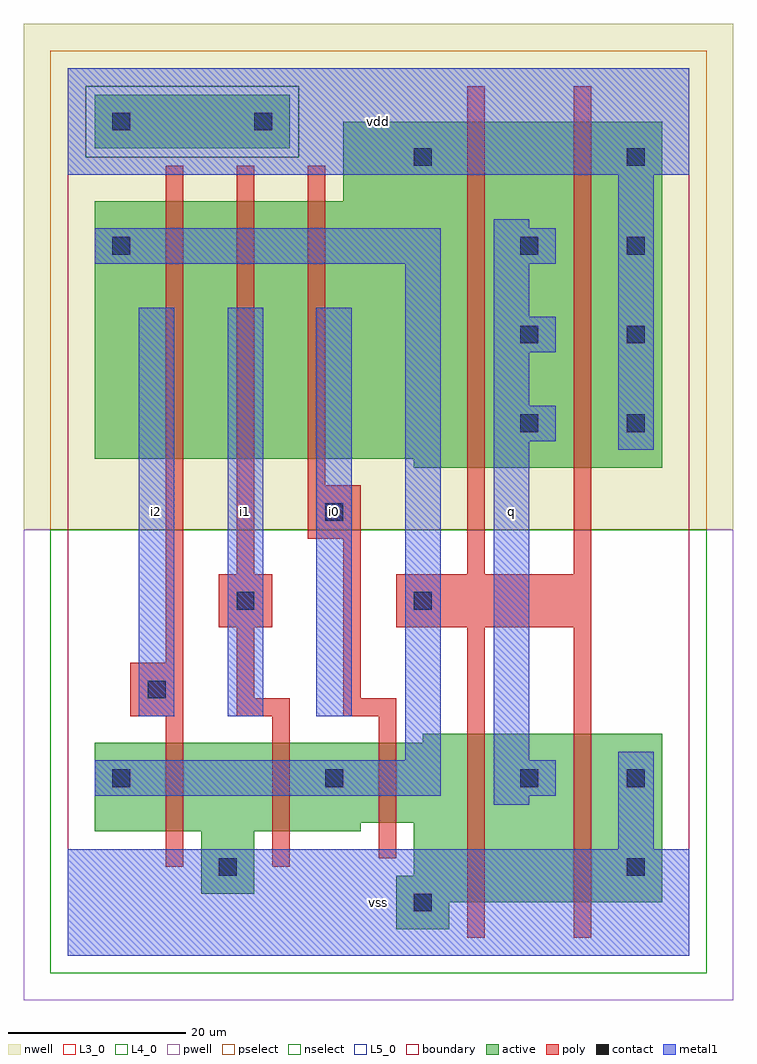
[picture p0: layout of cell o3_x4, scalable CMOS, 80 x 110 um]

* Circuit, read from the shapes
.subckt o3_x4 i0 i1 i2 q vdd vss
M1 vss i2 n1 VSUBS nfet w=10u l=2u
M2 n1 i1 vss VSUBS nfet w=10u l=2u
M3 vss i0 n1 VSUBS nfet w=9u l=2u
M4 q n1 vss VSUBS nfet w=19u l=2u m=2
M5 n2 i2 n1 vdd pfet w=29u l=2u
M6 n3 i1 n2 vdd pfet w=29u l=2u
M7 vdd i0 n3 vdd pfet w=29u l=2u
M8 q n1 vdd vdd pfet w=39u l=2u m=2
.ends

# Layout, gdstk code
import gdstk
lib = gdstk.Library(unit=1e-6, precision=1e-09)
def R(c, l, rs):  # rectangles x0, y0, x1, y1
    for r in rs: c.add(gdstk.rectangle(r[:2], r[2:], *l))
def A(c, l, x, y, w, h, nx, ny, dx, dy):  # array of equal rectangles
    R(c, l, [(x+i*dx, y+j*dy, x+i*dx+w, y+j*dy+h) for i in range(nx) for j in range(ny)])
L3_0 = (3, 0)
L4_0 = (4, 0)
L5_0 = (5, 0)
contact = (25, 0)
pwell = (41, 0)
nwell = (42, 0)
active = (43, 0)
pselect = (44, 0)
nselect = (45, 0)
poly = (46, 0)
metal1 = (49, 0)
boundary = (63, 0)

o3_x4 = lib.new_cell('o3_x4')
R(o3_x4, L3_0, [(37,3,43,6), (37,6,67,9), (15,7,21,14), (39,9,67,15), (3,14,33,15), (3,15,67,24), (40,24,67,25)])
R(o3_x4, L4_0, [(39,55,67,56), (3,56,67,85), (31,85,67,94)])
R(o3_x4, L5_0, [(3,91,25,97)])
A(o3_x4, contact, 51, 59, 2, 2, 1, 3, 0, 10)
A(o3_x4, contact, 63, 59, 2, 2, 1, 4, 0, 10)
R(o3_x4, contact, [(39,5,41,7), (17,9,19,11), (63,9,65,11), (5,19,7,21), (29,19,31,21), (51,19,53,21), (63,19,65,21), (9,29,11,31), (19,39,21,41), (39,39,41,41), (29,49,31,51), (5,79,7,81), (39,89,41,91), (5,93,7,95), (21,93,23,95)])
R(o3_x4, pwell, [(-5,-5,75,48)])
R(o3_x4, nwell, [(-5,48,75,105)])
R(o3_x4, active, [(37,3,43,6), (37,6,67,9), (15,7,21,14), (39,9,67,15), (3,14,33,15), (3,15,67,24), (40,24,67,25), (39,55,67,56), (3,56,67,85), (31,85,67,94), (3,91,25,97)])
R(o3_x4, pselect, [(-2,48,72,90), (-2,90,2,98), (26,90,72,98), (-2,98,72,102)])
R(o3_x4, nselect, [(-2,-2,72,48), (2,90,26,98)])
R(o3_x4, poly, [(45,2,47,37), (57,2,59,37), (11,10,13,27), (23,10,25,27), (35,11,37,27), (7,27,13,33), (19,27,25,29), (31,27,37,29), (19,29,21,37), (31,29,33,47), (11,33,13,89), (17,37,23,43), (37,37,59,43), (19,43,21,89), (45,43,47,98), (57,43,59,98), (27,47,33,53), (27,53,29,89)])
A(o3_x4, metal1, 8, 27, 4, 46, 3, 1, 10, 0)
A(o3_x4, metal1, 48, 58, 7, 4, 1, 3, 0, 10)
R(o3_x4, metal1, [(0,0,70,12), (62,12,66,23), (48,17,52,18), (3,18,42,22), (48,18,55,22), (38,22,42,78), (48,22,52,58), (62,57,66,88), (48,62,52,68), (48,72,52,78), (3,78,42,82), (48,82,52,83), (0,88,70,100)])
R(o3_x4, boundary, [(0,0,70,100)])
o3_x4.add(gdstk.Label('i2', (10,50), layer=49, texttype=0))
o3_x4.add(gdstk.Label('i0', (30,50), layer=49, texttype=0))
o3_x4.add(gdstk.Label('i1', (20,50), layer=49, texttype=0))
o3_x4.add(gdstk.Label('vss', (35,6), layer=49, texttype=0))
o3_x4.add(gdstk.Label('q', (50,50), layer=49, texttype=0))
o3_x4.add(gdstk.Label('vdd', (35,94), layer=49, texttype=0))

lib.write_gds('o3_x4.gds')
